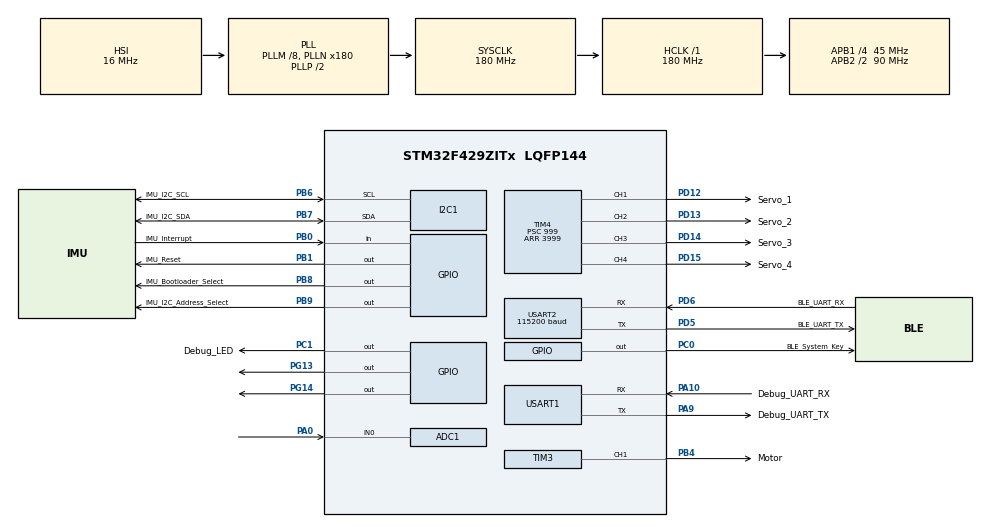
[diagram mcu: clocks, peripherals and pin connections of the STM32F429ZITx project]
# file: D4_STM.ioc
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ADC1.Channel-1\#ChannelRegularConversion=ADC_CHANNEL_0
ADC1.NbrOfConversionFlag=1
ADC1.Rank-1\#ChannelRegularConversion=1
ADC1.SamplingTime-1\#ChannelRegularConversion=ADC_SAMPLETIME_3CYCLES
ADC1.master=1
Dma.Request0=USART1_RX
Dma.Request1=USART1_TX
Dma.USART1_RX.0.Direction=DMA_PERIPH_TO_MEMORY
Dma.USART1_RX.0.FIFOMode=DMA_FIFOMODE_DISABLE
Dma.USART1_RX.0.Instance=DMA2_Stream2
Dma.USART1_RX.0.MemDataAlignment=DMA_MDATAALIGN_BYTE
Dma.USART1_RX.0.MemInc=DMA_MINC_ENABLE
Dma.USART1_RX.0.Mode=DMA_NORMAL
Dma.USART1_RX.0.PeriphDataAlignment=DMA_PDATAALIGN_BYTE
Dma.USART1_RX.0.PeriphInc=DMA_PINC_DISABLE
Dma.USART1_RX.0.Priority=DMA_PRIORITY_LOW
Dma.USART1_TX.1.Direction=DMA_MEMORY_TO_PERIPH
Dma.USART1_TX.1.FIFOMode=DMA_FIFOMODE_DISABLE
Dma.USART1_TX.1.Instance=DMA2_Stream7
Dma.USART1_TX.1.MemDataAlignment=DMA_MDATAALIGN_BYTE
Dma.USART1_TX.1.MemInc=DMA_MINC_ENABLE
Dma.USART1_TX.1.Mode=DMA_NORMAL
Dma.USART1_TX.1.PeriphDataAlignment=DMA_PDATAALIGN_BYTE
Dma.USART1_TX.1.PeriphInc=DMA_PINC_DISABLE
Dma.USART1_TX.1.Priority=DMA_PRIORITY_LOW
FREERTOS.Tasks01=defaultTask,24,128,StartDefaultTask,Default,NULL,Dynamic,NULL,NULL;xCLI,8,128,CLI,Default,NULL,Dynamic,NULL,NULL
FREERTOS.configENABLE_FPU=1
Mcu.Family=STM32F4
Mcu.Name=STM32F429ZITx
Mcu.Package=LQFP144
NVIC.DMA2_Stream2_IRQn=true\:5\:0\:false\:false\:true\:true\:false\:true\:true
NVIC.DMA2_Stream7_IRQn=true\:5\:0\:false\:false\:true\:true\:false\:true\:true
NVIC.PriorityGroup=NVIC_PRIORITYGROUP_4
NVIC.TIM2_IRQn=true\:15\:0\:false\:false\:true\:false\:false\:true\:true
NVIC.TimeBase=TIM2_IRQn
NVIC.TimeBaseIP=TIM2
NVIC.USART1_IRQn=true\:5\:0\:false\:false\:true\:true\:true\:true\:true
NVIC.USART2_IRQn=true\:5\:0\:false\:false\:true\:true\:true\:true\:true
PA0/WKUP.Signal=ADCx_IN0
PA10.GPIO_Label=Debug_UART_RX
PA10.Mode=Asynchronous
PA10.Signal=USART1_RX
PA13.Mode=Serial_Wire
PA13.Signal=SYS_JTMS-SWDIO
PA14.Mode=Serial_Wire
PA14.Signal=SYS_JTCK-SWCLK
PA9.GPIO_Label=Debug_UART_TX
PA9.Mode=Asynchronous
PA9.Signal=USART1_TX
PB0.GPIO_Label=IMU_Interrupt
PB0.Signal=GPIO_Input
PB1.GPIO_Label=IMU_Reset
PB1.Signal=GPIO_Output
PB4.GPIO_Label=Motor
PB4.Signal=S_TIM3_CH1
PB6.GPIO_Label=IMU_I2C_SCL
PB6.Mode=I2C
PB6.Signal=I2C1_SCL
PB7.GPIO_Label=IMU_I2C_SDA
PB7.Mode=I2C
PB7.Signal=I2C1_SDA
PB8.GPIO_Label=IMU_Bootloader_Select
PB8.Signal=GPIO_Output
PB9.GPIO_Label=IMU_I2C_Address_Select
PB9.Signal=GPIO_Output
PC0.GPIO_Label=BLE_System_Key
PC0.Signal=GPIO_Output
PC1.GPIO_Label=Debug_LED
PC1.Signal=GPIO_Output
PD12.GPIO_Label=Servo_1
PD12.Signal=S_TIM4_CH1
PD13.GPIO_Label=Servo_2
PD13.Signal=S_TIM4_CH2
PD14.GPIO_Label=Servo_3
PD14.Signal=S_TIM4_CH3
PD15.GPIO_Label=Servo_4
PD15.Signal=S_TIM4_CH4
PD5.GPIO_Label=BLE_UART_TX
PD5.Mode=Asynchronous
PD5.Signal=USART2_TX
PD6.GPIO_Label=BLE_UART_RX
PD6.Mode=Asynchronous
PD6.Signal=USART2_RX
PG13.Signal=GPIO_Output
PG14.Signal=GPIO_Output
ProjectManager.HeapSize=0x200
ProjectManager.StackSize=0x400
ProjectManager.TargetToolchain=STM32CubeIDE
RCC.48MHZClocksFreq_Value=90000000
RCC.AHBFreq_Value=180000000
RCC.APB1CLKDivider=RCC_HCLK_DIV4
RCC.APB1Freq_Value=45000000
RCC.APB1TimFreq_Value=90000000
RCC.APB2CLKDivider=RCC_HCLK_DIV2
RCC.APB2Freq_Value=90000000
RCC.APB2TimFreq_Value=180000000
RCC.CortexFreq_Value=180000000
RCC.HCLKFreq_Value=180000000
RCC.HSE_VALUE=8000000
RCC.HSI_VALUE=16000000
RCC.LSE_VALUE=32768
RCC.PLLM=8
RCC.PLLN=180
RCC.SYSCLKFreq_VALUE=180000000
RCC.SYSCLKSource=RCC_SYSCLKSOURCE_PLLCLK
RCC.VCOOutputFreq_Value=360000000
SH.ADCx_IN0.0=ADC1_IN0,IN0
SH.S_TIM3_CH1.0=TIM3_CH1,PWM Generation1 CH1
SH.S_TIM4_CH1.0=TIM4_CH1,PWM Generation1 CH1
SH.S_TIM4_CH2.0=TIM4_CH2,PWM Generation2 CH2
SH.S_TIM4_CH3.0=TIM4_CH3,PWM Generation3 CH3
SH.S_TIM4_CH4.0=TIM4_CH4,PWM Generation4 CH4
TIM3.AutoReloadPreload=TIM_AUTORELOAD_PRELOAD_ENABLE
TIM3.Channel-PWM\ Generation1\ CH1=TIM_CHANNEL_1
TIM3.Period=20000
TIM3.Prescaler=90
TIM4.Channel-PWM\ Generation1\ CH1=TIM_CHANNEL_1
TIM4.Channel-PWM\ Generation2\ CH2=TIM_CHANNEL_2
TIM4.Channel-PWM\ Generation3\ CH3=TIM_CHANNEL_3
TIM4.Channel-PWM\ Generation4\ CH4=TIM_CHANNEL_4
TIM4.Period=3999
TIM4.Prescaler=999
TIM5.Channel-PWM\ Generation3\ CH3=TIM_CHANNEL_3
USART1.VirtualMode=VM_ASYNC
USART2.BaudRate=115200
USART2.VirtualMode=VM_ASYNC
VP_FREERTOS_VS_CMSIS_V2.Mode=CMSIS_V2
VP_SYS_VS_tim2.Mode=TIM2
VP_TIM3_VS_ClockSourceINT.Mode=Internal
VP_TIM4_VS_ClockSourceINT.Mode=Internal
VP_TIM5_VS_ClockSourceINT.Mode=Internal
board=custom

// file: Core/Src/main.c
/* USER CODE BEGIN Header */
/**
  ******************************************************************************
  * @file           : main.c
  * @brief          : Main program body
  ******************************************************************************
  * @attention
  *
  * Copyright (c) 2025 STMicroelectronics.
  * All rights reserved.
  *
  * This software is licensed under terms that can be found in the LICENSE file
  * in the root directory of this software component.
  * If no LICENSE file comes with this software, it is provided AS-IS.
  *
  ******************************************************************************
  */
/* USER CODE END Header */
#include "main.h"
#include "cmsis_os.h"
#include "adc.h"
#include "dma.h"
#include "i2c.h"
#include "tim.h"
#include "usart.h"
#include "gpio.h"

/* USER CODE BEGIN Includes */
#include "Motor/motor.h"
/* USER CODE END Includes */

void SystemClock_Config(void);
void MX_FREERTOS_Init(void);

int main(void)
{

  /* MCU Configuration--------------------------------------------------------*/

  /* Reset of all peripherals, Initializes the Flash interface and the Systick. */
  HAL_Init();

  /* Configure the system clock */
  SystemClock_Config();

  /* Initialize all configured peripherals */
  MX_GPIO_Init();
  MX_DMA_Init();
  MX_I2C1_Init();
  MX_TIM3_Init();
  MX_TIM4_Init();
  MX_TIM5_Init();
  MX_USART1_UART_Init();
  MX_USART2_UART_Init();
  MX_ADC1_Init();
  /* USER CODE BEGIN 2 */
  HAL_TIM_PWM_Start(&htim4, TIM_CHANNEL_1);
  HAL_TIM_PWM_Start(&htim4, TIM_CHANNEL_2);
  HAL_TIM_PWM_Start(&htim4, TIM_CHANNEL_3);
  HAL_TIM_PWM_Start(&htim4, TIM_CHANNEL_4);
  /* USER CODE END 2 */

  /* Init scheduler */
  osKernelInitialize();

  /* Call init function for freertos objects (in cmsis_os2.c) */
  MX_FREERTOS_Init();

  /* Start scheduler */
  osKernelStart();

  /* We should never get here as control is now taken by the scheduler */

  /* Infinite loop */
  while (1)
  {

  }
}

void SystemClock_Config(void)
{
  RCC_OscInitTypeDef RCC_OscInitStruct = {0};
  RCC_ClkInitTypeDef RCC_ClkInitStruct = {0};

  /** Configure the main internal regulator output voltage
  */
  __HAL_RCC_PWR_CLK_ENABLE();
  __HAL_PWR_VOLTAGESCALING_CONFIG(PWR_REGULATOR_VOLTAGE_SCALE1);

  /** Initializes the RCC Oscillators according to the specified parameters
  * in the RCC_OscInitTypeDef structure.
  */
  RCC_OscInitStruct.OscillatorType = RCC_OSCILLATORTYPE_HSI;
  RCC_OscInitStruct.HSIState = RCC_HSI_ON;
  RCC_OscInitStruct.HSICalibrationValue = RCC_HSICALIBRATION_DEFAULT;
  RCC_OscInitStruct.PLL.PLLState = RCC_PLL_ON;
  RCC_OscInitStruct.PLL.PLLSource = RCC_PLLSOURCE_HSI;
  RCC_OscInitStruct.PLL.PLLM = 8;
  RCC_OscInitStruct.PLL.PLLN = 180;
  RCC_OscInitStruct.PLL.PLLP = RCC_PLLP_DIV2;
  RCC_OscInitStruct.PLL.PLLQ = 4;
  if (HAL_RCC_OscConfig(&RCC_OscInitStruct) != HAL_OK)
  {
    Error_Handler();
  }

  /** Activate the Over-Drive mode
  */
  if (HAL_PWREx_EnableOverDrive() != HAL_OK)
  {
    Error_Handler();
  }

  /** Initializes the CPU, AHB and APB buses clocks
  */
  RCC_ClkInitStruct.ClockType = RCC_CLOCKTYPE_HCLK|RCC_CLOCKTYPE_SYSCLK
                              |RCC_CLOCKTYPE_PCLK1|RCC_CLOCKTYPE_PCLK2;
  RCC_ClkInitStruct.SYSCLKSource = RCC_SYSCLKSOURCE_PLLCLK;
  RCC_ClkInitStruct.AHBCLKDivider = RCC_SYSCLK_DIV1;
  RCC_ClkInitStruct.APB1CLKDivider = RCC_HCLK_DIV4;
  RCC_ClkInitStruct.APB2CLKDivider = RCC_HCLK_DIV2;

  if (HAL_RCC_ClockConfig(&RCC_ClkInitStruct, FLASH_LATENCY_5) != HAL_OK)
  {
    Error_Handler();
  }
}

void HAL_TIM_PeriodElapsedCallback(TIM_HandleTypeDef *htim)
{
  if (htim->Instance == TIM2) {
    HAL_IncTick();
  }
}

void Error_Handler(void)
{
  __disable_irq();
  while (1)
  {
  }
}

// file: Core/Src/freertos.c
/* USER CODE BEGIN Header */
/**
  ******************************************************************************
  * File Name          : freertos.c
  * Description        : Code for freertos applications
  ******************************************************************************
  * @attention
  *
  * Copyright (c) 2025 STMicroelectronics.
  * All rights reserved.
  *
  * This software is licensed under terms that can be found in the LICENSE file
  * in the root directory of this software component.
  * If no LICENSE file comes with this software, it is provided AS-IS.
  *
  ******************************************************************************
  */
/* USER CODE END Header */

#include "FreeRTOS.h"
#include "task.h"
#include "main.h"
#include "cmsis_os.h"

/* USER CODE BEGIN Includes */
#include "Motor/motor.h"
#include "BLE/BLE.h"
#include "CLI/CLI.h"
#include "CLI/CLI_Cmd.h"
#include "string.h"

#include "Servo/Servo.h"
/* USER CODE END Includes */

/* Definitions for defaultTask */
osThreadId_t defaultTaskHandle;
const osThreadAttr_t defaultTask_attributes = {
  .name = "defaultTask",
  .stack_size = 128 * 4,
  .priority = (osPriority_t) osPriorityNormal,
};
/* Definitions for xCLI */
osThreadId_t xCLIHandle;
const osThreadAttr_t xCLI_attributes = {
  .name = "xCLI",
  .stack_size = 128 * 4,
  .priority = (osPriority_t) osPriorityLow,
};

void StartDefaultTask(void *argument);
void CLI(void *argument);

void MX_FREERTOS_Init(void); /* (MISRA C 2004 rule 8.1) */

void MX_FREERTOS_Init(void) {

  /* Create the thread(s) */
  /* creation of defaultTask */
  defaultTaskHandle = osThreadNew(StartDefaultTask, NULL, &defaultTask_attributes);

  /* creation of xCLI */
  xCLIHandle = osThreadNew(CLI, NULL, &xCLI_attributes);

}

void StartDefaultTask(void *argument)
{
  /* USER CODE BEGIN StartDefaultTask */
	BLE_Init();
	float angle1 = 0.048;
	float angle2 = 0.128;
	/* Infinite loop */
	for(;;)
	{
		setAllServos(angle1);
		osDelay(100);
		setAllServos(angle2);
		osDelay(100);
		BLE_SendString("HELLO PC!");
	}
  /* USER CODE END StartDefaultTask */
}

void CLI(void *argument)
{
  /* USER CODE BEGIN CLI */
  /* Infinite loop */
	CLI_Init();
	CLICmd_RegisterCMD();

	vCLI_Task();
  /* USER CODE END CLI */
}
